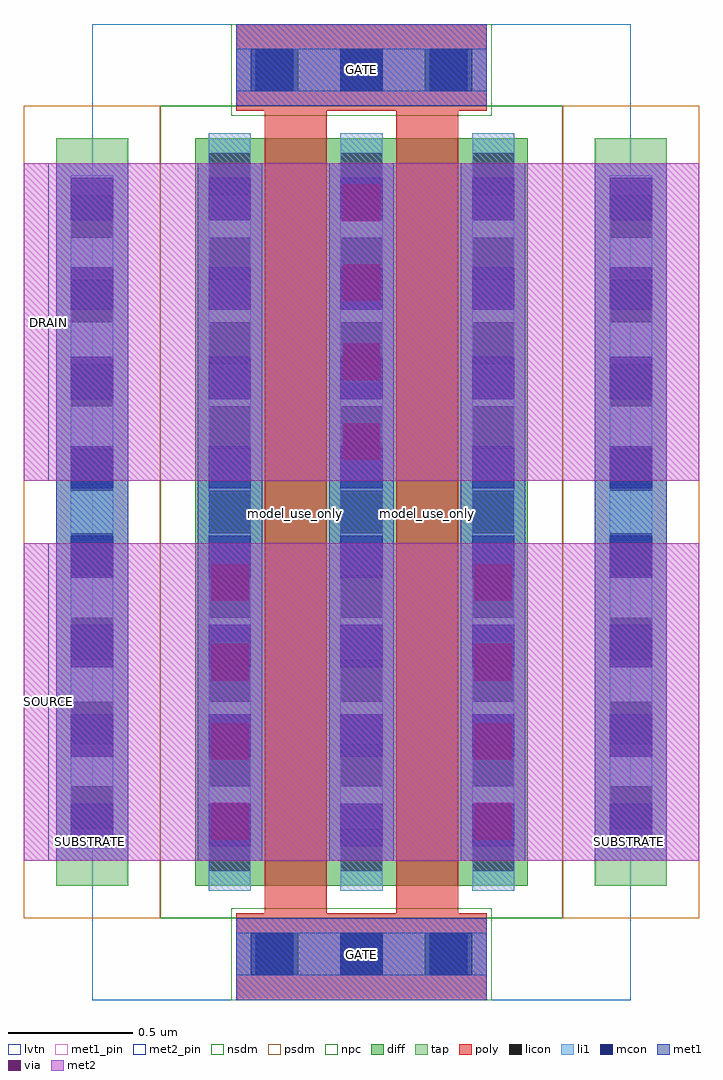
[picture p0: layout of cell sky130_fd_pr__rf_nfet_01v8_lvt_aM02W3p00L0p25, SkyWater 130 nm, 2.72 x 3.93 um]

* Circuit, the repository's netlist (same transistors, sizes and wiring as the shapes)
* Copyright 2020 The SkyWater PDK Authors
*
* Licensed under the Apache License, Version 2.0 (the "License");
* you may not use this file except in compliance with the License.
* You may obtain a copy of the License at
*
*     https://www.apache.org/licenses/LICENSE-2.0
*
* Unless required by applicable law or agreed to in writing, software
* distributed under the License is distributed on an "AS IS" BASIS,
* WITHOUT WARRANTIES OR CONDITIONS OF ANY KIND, either express or implied.
* See the License for the specific language governing permissions and
* limitations under the License.
*
* SPDX-License-Identifier: Apache-2.0


.subckt sky130_fd_pr__rf_nfet_01v8_lvt_aM02W3p00L0p25 DRAIN GATE SOURCE SUBSTRATE
X0 DRAIN GATE SOURCE SUBSTRATE sky130_fd_pr__nfet_01v8_lvt w=3.01e+06u l=250000u
X1 SOURCE GATE DRAIN SUBSTRATE sky130_fd_pr__nfet_01v8_lvt w=3.01e+06u l=250000u
.ends

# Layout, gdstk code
import gdstk
lib = gdstk.Library(unit=1e-6, precision=1e-09)
def R(c, l, rs):  # rectangles x0, y0, x1, y1
    for r in rs: c.add(gdstk.rectangle(r[:2], r[2:], *l))
def A(c, l, x, y, w, h, nx, ny, dx, dy):  # array of equal rectangles
    R(c, l, [(x+i*dx, y+j*dy, x+i*dx+w, y+j*dy+h) for i in range(nx) for j in range(ny)])
diff = (65, 20)
tap = (65, 44)
poly = (66, 20)
licon = (66, 44)
li1 = (67, 20)
mcon = (67, 44)
met1_pin = (68, 16)
met1 = (68, 20)
via = (68, 44)
met2_pin = (69, 16)
met2 = (69, 20)
nsdm = (93, 44)
psdm = (94, 20)
npc = (95, 20)
lvtn = (125, 44)

sky130_fd_pr__rf_nfet_01 = lib.new_cell('sky130_fd_pr__rf_nfet_01v8_lvt_aM02W3p00L0p25')
R(sky130_fd_pr__rf_nfet_01, diff, [(0.74,0.51,2.08,3.52)])
R(sky130_fd_pr__rf_nfet_01, tap, [(0.18,0.51,0.47,3.52), (2.35,0.51,2.64,3.52)])
R(sky130_fd_pr__rf_nfet_01, poly, [(0.905,0.05,1.915,0.4), (1.02,0.4,1.27,3.63), (1.55,0.4,1.8,3.63), (0.905,3.63,1.915,3.98)])
A(sky130_fd_pr__rf_nfet_01, licon, 0.985, 0.15, 0.17, 0.17, 3, 2, 0.34, 3.56)
A(sky130_fd_pr__rf_nfet_01, licon, 0.795, 0.57, 0.17, 0.17, 3, 9, 0.53, 0.34)
A(sky130_fd_pr__rf_nfet_01, licon, 0.24, 0.74, 0.17, 0.17, 1, 8, 0, 0.34)
A(sky130_fd_pr__rf_nfet_01, licon, 2.41, 0.74, 0.17, 0.17, 1, 8, 0, 0.34)
A(sky130_fd_pr__rf_nfet_01, li1, 0.795, 0.49, 0.17, 3.05, 3, 1, 0.53, 0)
A(sky130_fd_pr__rf_nfet_01, li1, 0.795, 0.67, 0.17, 2.69, 3, 1, 0.53, 0)
R(sky130_fd_pr__rf_nfet_01, li1, [(0.905,0.15,1.915,0.32), (0.965,0.15,1.855,0.32), (0.24,0.66,0.41,3.37), (2.41,0.66,2.58,3.37), (0.24,0.67,0.41,3.36), (2.41,0.67,2.58,3.36), (0.905,3.71,1.915,3.88), (0.965,3.71,1.855,3.88)])
A(sky130_fd_pr__rf_nfet_01, mcon, 0.965, 0.15, 0.17, 0.17, 3, 2, 0.36, 3.56)
A(sky130_fd_pr__rf_nfet_01, mcon, 0.24, 0.67, 0.17, 0.17, 1, 8, 0, 0.36)
A(sky130_fd_pr__rf_nfet_01, mcon, 0.795, 0.67, 0.17, 0.17, 3, 8, 0.53, 0.36)
A(sky130_fd_pr__rf_nfet_01, mcon, 2.41, 0.67, 0.17, 0.17, 1, 8, 0, 0.36)
R(sky130_fd_pr__rf_nfet_01, met1_pin, [(0.905,0.05,1.915,0.38), (0.18,0.61,0.47,0.69), (2.35,0.61,2.64,0.69), (0.905,3.65,1.915,3.98)])
A(sky130_fd_pr__rf_nfet_01, met1, 0.75, 0.61, 0.26, 2.81, 3, 1, 0.53, 0)
R(sky130_fd_pr__rf_nfet_01, met1, [(0.905,0.05,1.915,0.38), (0.18,0.61,0.47,3.42), (0.75,0.61,1.01,1.89), (1.81,0.61,2.07,1.89), (2.35,0.61,2.64,3.42), (1.28,2.14,1.54,3.42), (0.905,3.65,1.915,3.98)])
A(sky130_fd_pr__rf_nfet_01, via, 0.805, 0.695, 0.15, 0.15, 1, 4, 0, 0.32)
A(sky130_fd_pr__rf_nfet_01, via, 1.865, 0.695, 0.15, 0.15, 1, 4, 0, 0.32)
A(sky130_fd_pr__rf_nfet_01, via, 1.335, 2.225, 0.15, 0.15, 1, 4, 0, 0.32)
R(sky130_fd_pr__rf_nfet_01, met2_pin, [(0.05,0.61,0.15,1.89), (0.05,2.14,0.15,3.42)])
R(sky130_fd_pr__rf_nfet_01, met2, [(0.05,0.61,2.77,1.89), (0.75,0.61,1.01,1.89), (1.81,0.61,2.07,1.89), (0.05,2.14,2.77,3.42), (1.28,2.14,1.54,3.42)])
R(sky130_fd_pr__rf_nfet_01, nsdm, [(0.6,0.38,2.22,3.65)])
R(sky130_fd_pr__rf_nfet_01, psdm, [(0.05,0.38,0.6,3.65), (2.22,0.38,2.77,3.65)])
R(sky130_fd_pr__rf_nfet_01, npc, [(0.885,0.05,1.935,0.42), (0.885,3.61,1.935,3.98)])
R(sky130_fd_pr__rf_nfet_01, lvtn, [(0.325,0.05,2.495,3.98)])
sky130_fd_pr__rf_nfet_01.add(gdstk.Label('model_use_only', (1.145,2.01), layer=66, texttype=83))
sky130_fd_pr__rf_nfet_01.add(gdstk.Label('model_use_only', (1.675,2.01), layer=66, texttype=83))
sky130_fd_pr__rf_nfet_01.add(gdstk.Label('SOURCE', (0.15,1.25), layer=69, texttype=5))
sky130_fd_pr__rf_nfet_01.add(gdstk.Label('DRAIN', (0.15,2.78), layer=69, texttype=5))
sky130_fd_pr__rf_nfet_01.add(gdstk.Label('GATE', (1.41,3.795), layer=68, texttype=5))
sky130_fd_pr__rf_nfet_01.add(gdstk.Label('GATE', (1.41,0.235), layer=68, texttype=5))
sky130_fd_pr__rf_nfet_01.add(gdstk.Label('SUBSTRATE', (0.32,0.69), layer=68, texttype=5))
sky130_fd_pr__rf_nfet_01.add(gdstk.Label('SUBSTRATE', (2.49,0.69), layer=68, texttype=5))

lib.write_gds('sky130_fd_pr__rf_nfet_01v8_lvt_aM02W3p00L0p25.gds')
